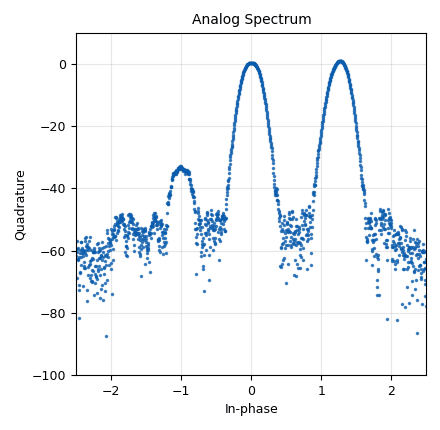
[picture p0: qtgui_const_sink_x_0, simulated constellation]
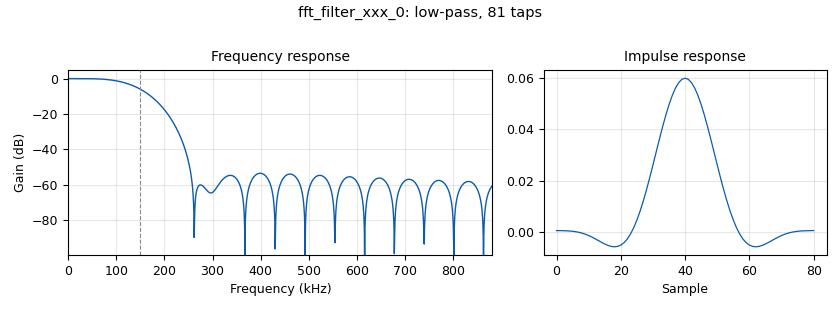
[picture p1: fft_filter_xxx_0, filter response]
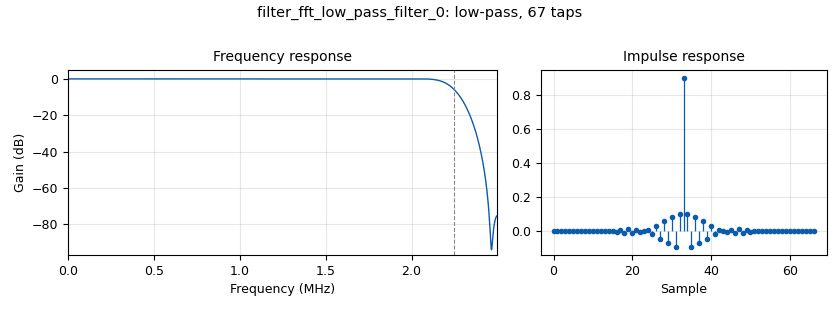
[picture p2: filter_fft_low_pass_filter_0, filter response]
options:
  parameters:
    author: Gary Schafer
    generate_options: qt_gui
    id: analogSinusoidSpecAn
    output_language: python
    title: Create an Analog Spectrum Analyzer for Sinusoid
  states: {}

blocks:
- name: amp
  id: variable_qtgui_range
  parameters:
    gui_hint: 0,10,1,10
    label: 'Sinusoid Amplitude: '
    start: '0'
    step: '0.01'
    stop: '1'
    value: '1'
  states: {}
- name: cf
  id: variable
  parameters:
    comment: |-
      Center frequency
      in MHz.
    value: '0'
  states: {}
- name: halfrate
  id: variable
  parameters:
    comment: |-
      Used to normalize
      various values
      Value: samp_rate/2e6
    value: samp_rate/2e6
  states: {}
- name: horzLine
  id: variable
  parameters:
    comment: |-
      This creates the horizontal
      ramp.
      Value: np.arange(-1,1,2/pts)
    value: np.arange(-1,1,2/pts)
  states: {}
- name: pts
  id: variable
  parameters:
    comment: 'Value: int(samp_rate*swpTime)'
    value: int(samp_rate*swpTime)
  states: {}
- name: rbw
  id: variable_qtgui_label
  parameters:
    gui_hint: 1,0,1,10
    label: 'Resolution bandwidth (Hz): '
    type: real
    value: 300e3
  states: {}
- name: rbwTaps
  id: variable
  parameters:
    comment: |-
      Create the resolution bandwidth filter
      Value: firdes.low_pass(1,samp_rate,rbw/2,rbw/8,0)
    value: firdes.low_pass(1,samp_rate,rbw/2,rbw/2,0)
  states: {}
- name: samp_rate
  id: variable
  parameters:
    value: 5e6
  states: {}
- name: sinefreq
  id: variable_qtgui_range
  parameters:
    gui_hint: 0,0,1,10
    label: Sinusoid Frequency (kHz)
    start: '-samp_rate/1000'
    step: '1'
    stop: samp_rate/1000
    value: '0'
  states: {}
- name: start_freq
  id: variable
  parameters:
    comment: |-
      Set start frequency
      of display
      Value: cf-halfrate
    value: cf-halfrate
  states: {}
- name: stop_freq
  id: variable
  parameters:
    comment: |-
      Set stop frequency
      of display
      Value: cf+halfrate
    value: cf+halfrate
  states: {}
- name: sweep_speed
  id: variable
  parameters:
    comment: |-
      Hz/sec
      Value: rbw*samp_rate/len(rbwTaps)
    value: rbw*samp_rate/len(rbwTaps)
  states: {}
- name: swpTime
  id: variable_qtgui_label
  parameters:
    comment: 'Default value: samp_rate/sweep_speed'
    gui_hint: 1,10,1,10
    label: 'Sweep Time (sec): '
    type: real
    value: samp_rate/sweep_speed
  states: {}
- name: analog_frequency_modulator_fc_0
  id: analog_frequency_modulator_fc
  parameters:
    comment: |-
      VCO (voltage controlled oscillator)
      Sensitivity: -np.pi
    sensitivity: '-np.pi'
  states: {}
- name: analog_noise_source_x_0
  id: analog_noise_source_x
  parameters:
    amp: '1e-2'
    comment: Noise source
    noise_type: analog.GR_GAUSSIAN
    seed: '0'
    type: complex
  states: {}
- name: analog_sig_source_x_0
  id: analog_sig_source_x
  parameters:
    amp: amp
    freq: sinefreq*1000
    offset: '0'
    phase: '0'
    samp_rate: samp_rate
    type: complex
    waveform: analog.GR_COS_WAVE
  states: {}
- name: analog_sig_source_x_0_0
  id: analog_sig_source_x
  parameters:
    amp: '0.02'
    freq: '-samp_rate/5'
    offset: '0'
    phase: '0'
    samp_rate: samp_rate
    type: complex
    waveform: analog.GR_COS_WAVE
  states: {}
- name: analog_sig_source_x_0_0_0
  id: analog_sig_source_x
  parameters:
    amp: '1'
    freq: samp_rate/4
    offset: '0'
    phase: '0'
    samp_rate: samp_rate
    type: complex
    waveform: analog.GR_COS_WAVE
  states: {}
- name: analog_sig_source_x_0_0_0_0
  id: analog_sig_source_x
  parameters:
    amp: '0.1'
    freq: 1.2e6
    offset: '0'
    phase: '0'
    samp_rate: samp_rate
    type: complex
    waveform: analog.GR_COS_WAVE
  states: {}
- name: blocks_add_const_vxx_0
  id: blocks_add_const_vxx
  parameters:
    comment: |-
      Set center frequency
      of display
    const: cf
    type: float
  states: {}
- name: blocks_add_xx_0
  id: blocks_add_xx
  parameters:
    num_inputs: '5'
    type: complex
  states: {}
- name: blocks_complex_to_mag_squared_0
  id: blocks_complex_to_mag_squared
  parameters:
    comment: AM detector
  states: {}
- name: blocks_delay_0
  id: blocks_delay
  parameters:
    comment: 'Delay: int(len(rbwTaps)/2)'
    delay: int(len(rbwTaps)/2)
    type: float
  states: {}
- name: blocks_float_to_complex_0
  id: blocks_float_to_complex
  parameters:
    comment: |-
      Create X-Y samples
      for constellation
      sink.
  states: {}
- name: blocks_multiply_const_vxx_0
  id: blocks_multiply_const_vxx
  parameters:
    comment: |-
      Scale frequency
      (horizontal) axis
    const: halfrate
    type: float
  states: {}
- name: blocks_multiply_xx_0
  id: blocks_multiply_xx
  parameters:
    comment: Mixer
    type: complex
  states: {}
- name: blocks_nlog10_ff_0
  id: blocks_nlog10_ff
  parameters:
    comment: |-
      Convert linear
      to logarithmic
      n: 10
    k: '0'
    n: '10'
  states: {}
- name: blocks_throttle_0
  id: blocks_throttle
  parameters:
    samples_per_second: samp_rate
    type: complex
  states: {}
- name: blocks_vector_source_x_0
  id: blocks_vector_source_x
  parameters:
    comment: Ramp generator
    repeat: 'True'
    type: float
    vector: horzLine
  states: {}
- name: fft_filter_xxx_0
  id: fft_filter_xxx
  parameters:
    comment: RBW filter
    decim: '1'
    taps: rbwTaps
    type: ccc
  states: {}
- name: filter_fft_low_pass_filter_0
  id: filter_fft_low_pass_filter
  parameters:
    comment: |-
      Get rid of "Atari effect"
      issues.
    cutoff_freq: samp_rate*0.45
    decim: '1'
    gain: '1'
    samp_rate: samp_rate
    type: ccc
    width: samp_rate*0.05
    win: window.WIN_BLACKMAN
  states: {}
- name: import_1
  id: import
  parameters:
    comment: 'Import: import numpy as np'
    imports: import numpy as np
  states: {}
- name: qtgui_const_sink_x_0
  id: qtgui_const_sink_x
  parameters:
    color1: '"black"'
    comment: |-
      Number of Points: pts
      Ymin: -100
      Ymax: 0
      Xmin: start_freq
      Xmax: stop_freq
      Update Period: 0.001
    grid: 'True'
    gui_hint: 3,0,20,20
    legend: 'False'
    marker1: '-1'
    name: Analog Spectrum
    size: pts
    style1: '1'
    type: complex
    update_time: '0.001'
    xmax: stop_freq
    xmin: start_freq
    ymax: '10'
    ymin: '-100'
  states: {}
- name: virtual_sink_0
  id: virtual_sink
  parameters:
    stream_id: sweptOut
  states: {}
- name: virtual_source_0
  id: virtual_source
  parameters:
    stream_id: sweptOut
  states: {}

connections:
- [analog_frequency_modulator_fc_0, '0', blocks_multiply_xx_0, '1']
- [analog_noise_source_x_0, '0', blocks_add_xx_0, '2']
- [analog_sig_source_x_0, '0', blocks_throttle_0, '0']
- [analog_sig_source_x_0_0, '0', blocks_add_xx_0, '3']
- [analog_sig_source_x_0_0_0, '0', blocks_add_xx_0, '4']
- [analog_sig_source_x_0_0_0_0, '0', blocks_add_xx_0, '0']
- [blocks_add_const_vxx_0, '0', blocks_float_to_complex_0, '0']
- [blocks_add_xx_0, '0', filter_fft_low_pass_filter_0, '0']
- [blocks_complex_to_mag_squared_0, '0', blocks_nlog10_ff_0, '0']
- [blocks_delay_0, '0', blocks_multiply_const_vxx_0, '0']
- [blocks_float_to_complex_0, '0', qtgui_const_sink_x_0, '0']
- [blocks_multiply_const_vxx_0, '0', blocks_add_const_vxx_0, '0']
- [blocks_multiply_xx_0, '0', virtual_sink_0, '0']
- [blocks_nlog10_ff_0, '0', blocks_float_to_complex_0, '1']
- [blocks_throttle_0, '0', blocks_add_xx_0, '1']
- [blocks_vector_source_x_0, '0', analog_frequency_modulator_fc_0, '0']
- [blocks_vector_source_x_0, '0', blocks_delay_0, '0']
- [fft_filter_xxx_0, '0', blocks_complex_to_mag_squared_0, '0']
- [filter_fft_low_pass_filter_0, '0', blocks_multiply_xx_0, '0']
- [virtual_source_0, '0', fft_filter_xxx_0, '0']

metadata:
  file_format: 1
